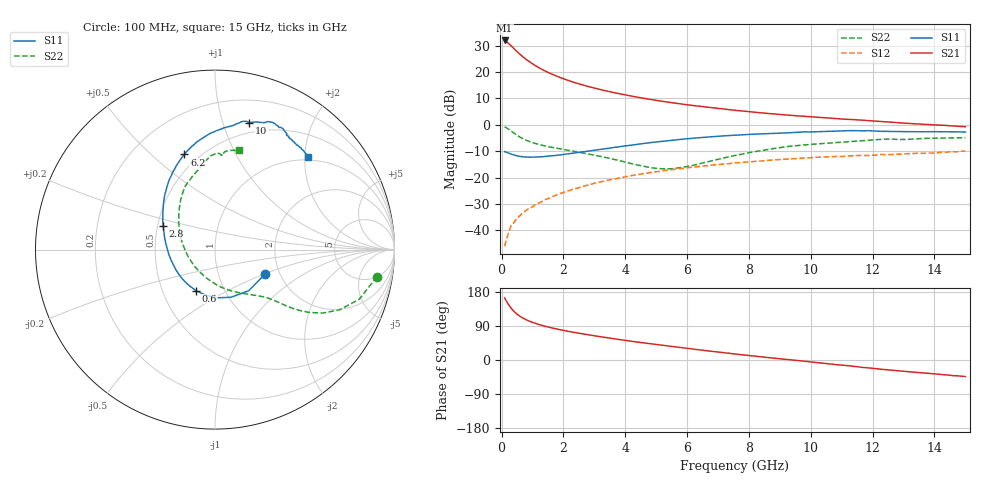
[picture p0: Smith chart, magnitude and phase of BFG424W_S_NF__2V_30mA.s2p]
! Filename BFG424W_2V_30mA.prm
!	! Created	by	janssen	on	Thu	Sep	15	10:02:03	WETDST	2005
!	Column ranking S11, S21,S12,S22 both magnitude and phase.
!	VCE	=	2	V,	IC	=	30	mA
!	Common	Emitter	S-Parameters
#	GHz	S	MA	R	50
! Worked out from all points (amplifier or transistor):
!   150 points, 100 MHz to 15 GHz, reference 50 ohm
!   highest |S21| = 32.0 dB at 100 MHz (marker M1)
!   |S21| within 3 dB of that: start of sweep to 396 MHz
!   unconditionally stable (mu >= 1): 977.7 MHz to 11.09 GHz; 11.6 GHz to end of sweep
!   at 2.6 GHz: K = 1.19, MAG = 16.7 dB, |S12| = -23.5 dB
!   at 7.6 GHz: K = 1.11, MAG = 7.9 dB, |S12| = -14.4 dB
!   at 15 GHz: K = 1.10, MAG = 2.8 dB, |S12| = -10.0 dB
!   lowest NFmin = 2.30 dB at 900 MHz
!   S11 on the Smith chart (normalised r, x): 100 MHz: 1.68, -0.51; 600 MHz: 0.74, -0.36; 2.8 GHz: 0.54, +0.16; 6.2 GHz: 0.42, +0.64; 10 GHz: 0.40, +1.22; 15 GHz: 0.93, +2.07
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0.1  0.311 -25.9  39.85 163.9  0.005 91.4  0.915 -9.5
0.2  0.296 -50.9  36.35 149.5  0.008 76.1  0.85 -19.0
0.3  0.28 -71.4  32.04 137.7  0.012 72.2  0.771 -25.8
0.4  0.269 -88.5  28.06 128.5  0.014 70.2  0.697 -30.5
0.5  0.258 -102.8  24.6 121.1  0.017 69.6  0.634 -33.6
0.6  0.252 -114.7  21.72 115.1  0.019 69.3  0.583 -35.7
0.7  0.247 -124.4  19.34 110.2  0.022 69.4  0.542 -37.1
0.9  0.244 -140.1  15.75 102.5  0.026 70.0  0.483 -39.0
1.2  0.246 -157.1  12.2 93.9  0.033 71.3  0.426 -41.1
1.5  0.254 -169.8  9.908 87.2  0.04 71.5  0.388 -43.4
1.8  0.265 180.0  8.313 81.5  0.047 71.4  0.358 -46.2
2.2  0.284 168.8  6.819 75.0  0.057 70.8  0.325 -50.9
2.6  0.305 159.7  5.76 69.3  0.067 69.6  0.295 -56.5
2.8  0.317 155.7  5.34 66.6  0.072 68.9  0.28 -59.7
3.7  0.377 139.9  4.008 55.3  0.095 65.0  0.217 -78.6
5.1  0.48 120.3  2.855 39.8  0.131 57.1  0.148 -131.5
6.2  0.557 107.8  2.325 28.7  0.158 50.1  0.171 177.2
7.6  0.64 93.7  1.875 15.4  0.191 41.2  0.266 139.3
10  0.733 75.0  1.424 -5.0  0.238 25.4  0.426 107.3
10.1  0.735 74.3  1.406 -5.9  0.241 24.5  0.43 106.5
12.6  0.748 56.7  1.119 -26.7  0.273 8.8  0.535 87.2
15  0.732 44.9  0.921 -43.6  0.315 -5.5  0.571 76.3
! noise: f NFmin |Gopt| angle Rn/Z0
0.9  2.3  0.29  -166.5  0.19
2  2.8  0.27  -150.8  0.25
